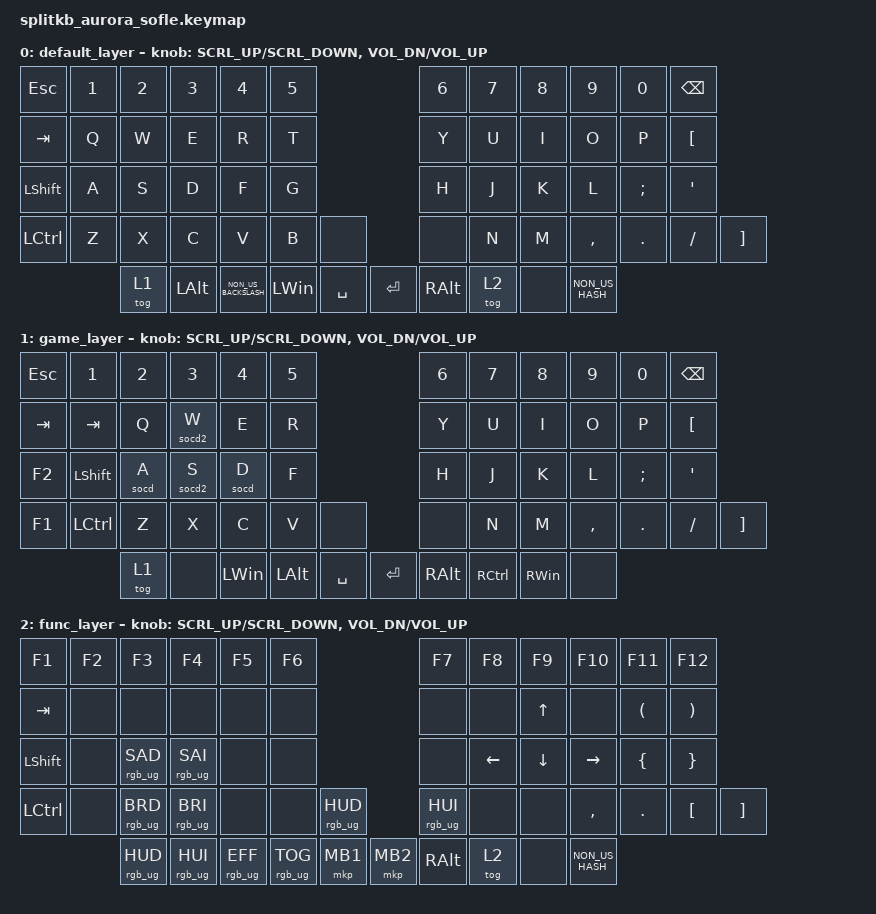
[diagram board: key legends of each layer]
//     _   __                                 
//    | | / /                                 
//    | |/ /  ___ _   _ _ __ ___   __ _ _ __  
//    |    \ / _ \ | | | '_ ` _ \ / _` | '_ \ 
//    | |\  \  __/ |_| | | | | | | (_| | |_) |
//    \_| \_/\___|\__, |_| |_| |_|\__,_| .__/ 
//                 __/ |               | |    
//                |___/                |_|    

#define ZMK_POINTING_DEFAULT_SCRL_VAL 80
#include <dt-bindings/zmk/mouse.h>
#include <behaviors.dtsi>
#include <dt-bindings/zmk/keys.h>
#include <dt-bindings/zmk/pointing.h>
#include <dt-bindings/zmk/rgb.h>
#include <behaviors/socd.dtsi>

// ---------- Led ----------
&led_strip {
    // chain-length = <6>; // Only underglow LEDs
    chain-length = <35>; // Both per-key and underglow LEDs
    // chain-length = <29>; // Only per-key LEDs
};
// ---------- Led ----------

// ---------- Keymap ----------
/ {
    behaviors {
        socd2: socd2 {
            compatible = "zmk,behavior-socd";
            #binding-cells = <1>;
            bindings = <&kp>;
        };
        msc_rotate: msc_rotate {
            compatible = "zmk,behavior-sensor-rotate-var";
            #sensor-binding-cells = <2>;
            bindings = <&msc>, <&msc>;
            tap-ms = <20>;
        };
    };
    keymap {
        compatible = "zmk,keymap";

        // ---------- Base Layer ----------
        /*
        * ,-----------------------------------------.                    ,-----------------------------------------.
        * |  ESC |   1  |   2  |   3  |   4  |   5  |                    |   6  |   7  |   8  |   9  |   0  | Bspc |
        * |------+------+------+------+------+------|                    |------+------+------+------+------+------|
        * | TAB  |   Q  |   W  |   E  |   R  |   T  |                    |   Z  |   U  |   I  |   O  |   P  |  Ü   |
        * |------+------+------+------+------+------|                    |------+------+------+------+------+------|
        * |LShift|   A  |   S  |   D  |   F  |   G  |-------.    ,-------|   H  |   J  |   K  |   L  |   Ö  |  Ä   |
        * |------+------+------+------+------+------| Scroll|    | Volume|------+------+------+------+------+------|
        * | LCTL |   Y  |   X  |   C  |   V  |   B  |-------|    |-------|   N  |   M  |   ,  |   .  |   -  |   +  |
        * `-----------------------------------------/       /     \      \-----------------------------------------'
        *            | _GAME| LALT | <|>  | LGUI | /Space  /       \Enter \  | RALT | _FUNC|      |  #'’ |
        *            |      |      |      |      |/       /         \      \ |      |      |      |      |
        *            `----------------------------------'           '------''---------------------------'
        */

        default_layer {
            bindings = <
                &kp ESC    &kp N1  &kp N2  &kp N3        &kp N4                &kp N5                             &kp N6         &kp N7  &kp N8     &kp N9           &kp N0     &kp BSPC
                &kp TAB    &kp Q   &kp W   &kp E         &kp R                 &kp T                              &kp Y          &kp U   &kp I      &kp O            &kp P      &kp LBKT
                &kp LSHFT  &kp A   &kp S   &kp D         &kp F                 &kp G                              &kp H          &kp J   &kp K      &kp L            &kp SEMI   &kp SQT
                &kp LCTRL  &kp Z   &kp X   &kp C         &kp V                 &kp B     &none                    &none       &kp N          &kp M   &kp COMMA  &kp PERIOD       &kp SLASH  &kp RIGHT_BRACKET
                                   &tog 1  &kp LEFT_ALT  &kp NON_US_BACKSLASH  &kp LWIN  &kp SPACE    &kp RETURN  &kp RIGHT_ALT  &tog 2  &none      &kp NON_US_HASH
            >;

            sensor-bindings = <
                &msc_rotate SCRL_UP SCRL_DOWN
                &inc_dec_kp C_VOL_DN C_VOL_UP
            >;
        };
        // ---------- Base Layer ----------

        // ---------- Game Layer ----------
        /*
        * ,-----------------------------------------.                    ,-----------------------------------------.
        * |  ESC |   1  |   2  |   3  |   4  |   5  |                    |   6  |   7  |   8  |   9  |   0  | Bspc |
        * |------+------+------+------+------+------|                    |------+------+------+------+------+------|
        * |  F3  | TAB  |   Q  |   W  |   E  |   R  |                    |   Z  |   U  |   I  |   O  |   P  |  Ü   |
        * |------+------+------+------+------+------|                    |------+------+------+------+------+------|
        * |  F2  |LShift|   A  |   S  |   D  |   F  |-------.    ,-------|   H  |   J  |   K  |   L  |   Ö  |  Ä   |
        * |------+------+------+------+------+------| Scroll|    | Volume|------+------+------+------+------+------|
        * |  F1  | LCTL |   Y  |   X  |   C  |   V  |-------|    |-------|   N  |   M  |   ,  |   .  |   -  |RShift|
        * `-----------------------------------------/       /     \      \-----------------------------------------'
        *            | _GAME|      | LGUI | LAlt | /Space  /       \Enter \  | RALT | RCTL | RGUI |      |
        *            |      |      |      |      |/       /         \      \ |      |      |      |      |
        *            `----------------------------------'           '------''---------------------------'
        */

        game_layer {
            bindings = <
                &kp ESC  &kp N1          &kp N2   &kp N3    &kp N4    &kp N5                                 &kp N6         &kp N7     &kp N8         &kp N9      &kp N0     &kp BSPC
                &kp TAB  &kp TAB         &kp Q    &socd2 W  &kp E     &kp R                                  &kp Y          &kp U      &kp I          &kp O       &kp P      &kp LBKT
                &kp F2   &kp LEFT_SHIFT  &socd A  &socd2 S  &socd D   &kp F                                  &kp H          &kp J      &kp K          &kp L       &kp SEMI   &kp SQT
                &kp F1   &kp LCTRL       &kp Z    &kp X     &kp C     &kp V         &none        &none       &kp N          &kp M      &kp COMMA      &kp PERIOD  &kp SLASH  &kp RIGHT_BRACKET
                                         &tog 1   &none     &kp LWIN  &kp LEFT_ALT  &kp SPACE    &kp RETURN  &kp RIGHT_ALT  &kp RCTRL  &kp RIGHT_WIN  &none
            >;

            sensor-bindings = <
                &msc_rotate SCRL_UP SCRL_DOWN
                &inc_dec_kp C_VOL_DN C_VOL_UP
            >;
        };
        // ---------- Game Layer ----------

        // ---------- Function Layer ----------
        /*
        * ,-----------------------------------------.                    ,-----------------------------------------.
        * |  F1  |  F2  |  F3  |  F4  |  F5  |  F6  |                    |  F7  |  F8  |  F9  |  F10 |  F11 | F12  |
        * |------+------+------+------+------+------|                    |------+------+------+------+------+------|
        * | TAB  |      |      |      |      |      |                    |      |      |   ↑  |      |   (  |  )   |
        * |------+------+------+------+------+------|                    |------+------+------+------+------+------|
        * |LShift|      | SDEC | SINC |      |      |-------.    ,-------|      |   ←  |   ↑  |   →  |   {  |  }   |
        * |------+------+------+------+------+------| MS x-A|    |MS y-A |------+------+------+------+------+------|
        * | LCTL |      | BDEC | BINC |      |      |-------|    |-------|      |      |   ,  |   .  |   [  |  ]   |
        * `-----------------------------------------/       /    \       \-----------------------------------------'
        *            | HUD  | HUI  | EFF  | TOG  | /L-Click/      \R-CLick\  | RALT | _FUNC|      | #'’  |
        *            |      |      |      |      |/       /        \       \ |      |      |      |      |
        *            `----------------------------------'           '------''---------------------------'
        */

        func_layer {
            bindings = <
                &kp F1     &kp F2  &kp F3           &kp F4           &kp F5           &kp F6                                               &kp F7         &kp F8    &kp F9     &kp F10          &kp F11           &kp F12
                &kp TAB    &none   &none            &none            &none            &none                                                &none          &none     &kp UP     &none            &kp LPAR          &kp RPAR
                &kp LSHFT  &none   &rgb_ug RGB_SAD  &rgb_ug RGB_SAI  &none            &none                                                &none          &kp LEFT  &kp DOWN   &kp RIGHT        &kp LBRC          &kp RBRC
                &kp LCTRL  &none   &rgb_ug RGB_BRD  &rgb_ug RGB_BRI  &none            &none            &rgb_ug RGB_HUD    &rgb_ug RGB_HUI  &none          &none     &kp COMMA  &kp PERIOD       &kp LEFT_BRACKET  &kp RIGHT_BRACKET
                                   &rgb_ug RGB_HUD  &rgb_ug RGB_HUI  &rgb_ug RGB_EFF  &rgb_ug RGB_TOG  &mkp MB1           &mkp MB2         &kp RIGHT_ALT  &tog 2    &none      &kp NON_US_HASH
            >;

            sensor-bindings = <
                &msc_rotate SCRL_UP SCRL_DOWN
                &inc_dec_kp C_VOL_DN C_VOL_UP
            >;
        };
        // ---------- Function Layer ----------
    };
};
// ---------- Keymap ----------
